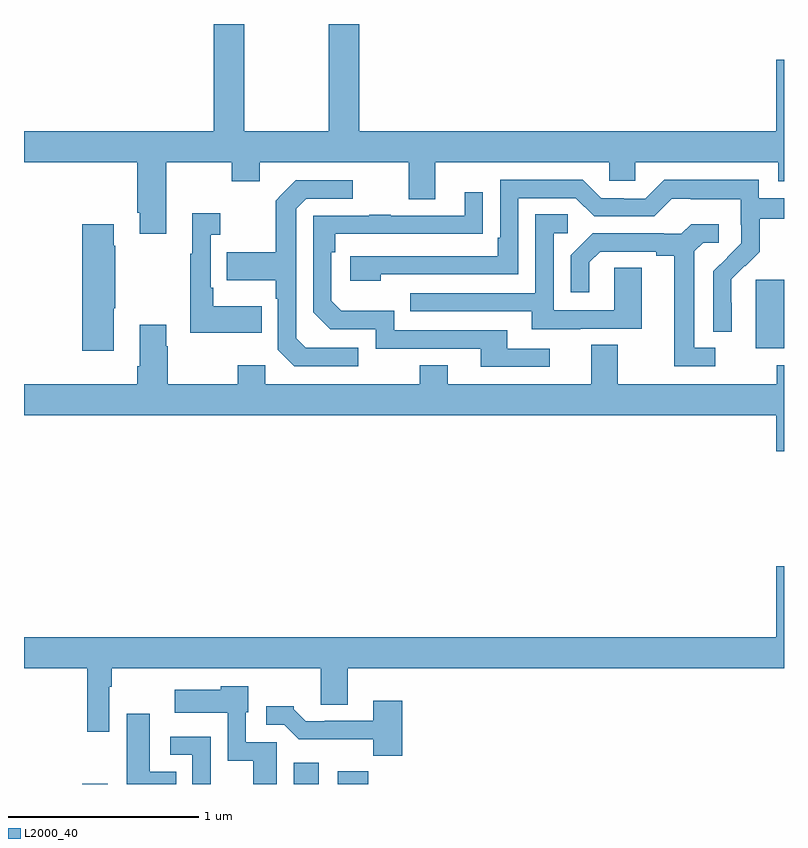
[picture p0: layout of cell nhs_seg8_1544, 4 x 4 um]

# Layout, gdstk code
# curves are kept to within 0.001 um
import gdstk
lib = gdstk.Library(unit=1e-6, precision=1e-09)
def R(c, l, rs):  # rectangles x0, y0, x1, y1
    for r in rs: c.add(gdstk.rectangle(r[:2], r[2:], *l))
def P(c, l, *ps):  # polygons
    for p in ps: c.add(gdstk.Polygon(p, *l))
L2000_40 = (2000, 40)

nhs_seg8_1544 = lib.new_cell('nhs_seg8_1544')
R(nhs_seg8_1544, L2000_40, [(209.306,1107.9,209.44,1107.901), (210.419,1107.9,210.55,1108.012), (210.65,1107.9,210.812,1107.967), (212.852,1110.194,213,1110.555)])
P(nhs_seg8_1544, L2000_40, [(209.749,1111.172),(210.094,1111.172),(210.094,1111.073),(210.241,1111.073),(210.241,1111.172),(211.025,1111.172),(211.025,1110.978),(211.165,1110.978),(211.165,1111.172),(212.079,1111.172),(212.079,1111.074),(212.217,1111.074),(212.217,1111.172),(212.969,1111.172),(212.969,1111.073),(213,1111.073),(213,1111.711),(212.96,1111.711),(212.96,1111.336),(210.764,1111.336),(210.764,1111.9),(210.604,1111.9),(210.604,1111.336),(210.159,1111.336),(210.159,1111.9),(209.999,1111.9),(209.999,1111.336),(209,1111.336),(209,1111.172),(209.597,1111.172),(209.597,1110.907),(209.609,1110.907),(209.609,1110.795),(209.749,1110.795)],
  [(212.724,1110.434),(212.723,1110.557),(212.793,1110.627),(212.796,1110.624),(212.873,1110.701),(212.873,1110.876),(213,1110.876),(213,1110.984),(212.868,1110.984),(212.868,1111.081),(212.371,1111.081),(212.271,1110.981),(212.156,1110.981),(212.156,1110.984),(212.037,1110.984),(211.941,1111.08),(211.506,1111.08),(211.506,1110.775),(211.493,1110.775),(211.493,1110.678),(210.717,1110.678),(210.717,1110.548),(210.878,1110.548),(210.878,1110.582),(211.602,1110.582),(211.602,1110.984),(211.905,1110.984),(212.001,1110.888),(212.316,1110.888),(212.409,1110.981),(212.509,1110.981),(212.509,1110.977),(212.772,1110.977),(212.772,1110.843),(212.774,1110.843),(212.774,1110.746),(212.628,1110.598),(212.628,1110.28),(212.724,1110.28)],
  [(210.76,1110.195),(210.483,1110.195),(210.432,1110.246),(210.432,1110.927),(210.486,1110.981),(210.73,1110.981),(210.73,1111.077),(210.429,1111.077),(210.324,1110.971),(210.324,1110.699),(210.067,1110.699),(210.067,1110.551),(210.324,1110.551),(210.324,1110.455),(210.336,1110.455),(210.336,1110.186),(210.423,1110.099),(210.76,1110.099)],
  [(211.768,1110.192),(211.543,1110.192),(211.543,1110.288),(210.948,1110.288),(210.948,1110.391),(210.671,1110.391),(210.618,1110.444),(210.618,1110.698),(210.638,1110.698),(210.638,1110.795),(211.415,1110.796),(211.415,1111.015),(211.319,1111.015),(211.319,1110.891),(210.929,1110.891),(210.929,1110.896),(210.817,1110.896),(210.817,1110.891),(210.522,1110.891),(210.522,1110.384),(210.612,1110.294),(210.852,1110.294),(210.852,1110.192),(211.403,1110.192),(211.403,1110.096),(211.768,1110.096)],
  [(210.251,1110.415),(209.995,1110.415),(209.995,1110.511),(209.982,1110.511),(209.982,1110.791),(210.034,1110.791),(210.034,1110.904),(209.885,1110.904),(209.885,1110.691),(209.874,1110.691),(209.874,1110.275),(210.251,1110.275)],
  [(211.927,1110.297),(212.251,1110.297),(212.251,1110.617),(212.106,1110.617),(212.106,1110.393),(211.788,1110.393),(211.788,1110.798),(211.861,1110.798),(211.861,1110.899),(211.692,1110.899),(211.692,1110.483),(211.033,1110.483),(211.033,1110.387),(211.673,1110.387),(211.673,1110.293),(211.927,1110.293)],
  [(209.473,1110.403),(209.481,1110.403),(209.481,1110.734),(209.473,1110.734),(209.473,1110.847),(209.306,1110.847),(209.306,1110.18),(209.473,1110.18)],
  [(212.638,1110.195),(212.527,1110.195),(212.527,1110.703),(212.574,1110.75),(212.656,1110.75),(212.656,1110.847),(212.512,1110.847),(212.46,1110.795),(212.366,1110.795),(212.366,1110.798),(211.994,1110.798),(211.878,1110.682),(211.878,1110.489),(211.975,1110.489),(211.975,1110.645),(212.032,1110.702),(212.327,1110.702),(212.327,1110.68),(212.423,1110.68),(212.423,1110.099),(212.638,1110.099)],
  [(213,1110.103),(212.962,1110.103),(212.962,1110.004),(212.125,1110.004),(212.125,1110.212),(211.985,1110.212),(211.985,1110.004),(211.231,1110.004),(211.231,1110.103),(211.084,1110.103),(211.084,1110.004),(210.27,1110.004),(210.27,1110.103),(210.124,1110.103),(210.124,1110.004),(209.757,1110.004),(209.757,1110.203),(209.749,1110.203),(209.749,1110.316),(209.609,1110.316),(209.609,1110.1),(209.597,1110.1),(209.597,1110.004),(209,1110.004),(209,1109.84),(212.96,1109.84),(212.96,1109.652),(213,1109.652)],
  [(209.448,1108.412),(209.461,1108.412),(209.461,1108.508),(210.563,1108.508),(210.563,1108.318),(210.703,1108.318),(210.703,1108.508),(213,1108.508),(213,1109.047),(212.96,1109.047),(212.96,1108.672),(209,1108.672),(209,1108.508),(209.332,1108.508),(209.332,1108.176),(209.448,1108.176)],
  [(210.331,1108.119),(210.168,1108.119),(210.168,1108.278),(210.181,1108.278),(210.181,1108.414),(210.036,1108.414),(210.036,1108.396),(209.793,1108.396),(209.793,1108.274),(210.072,1108.274),(210.072,1108.022),(210.206,1108.022),(210.206,1107.9),(210.331,1107.9)],
  [(210.992,1108.339),(210.839,1108.339),(210.839,1108.233),(210.583,1108.233),(210.583,1108.23),(210.484,1108.23),(210.42,1108.294),(210.42,1108.309),(210.276,1108.309),(210.276,1108.212),(210.369,1108.212),(210.445,1108.136),(210.837,1108.136),(210.837,1108.049),(210.992,1108.049)],
  [(209.801,1107.964),(209.662,1107.964),(209.662,1108.27),(209.54,1108.27),(209.54,1107.9),(209.801,1107.9)],
  [(209.982,1108.149),(209.769,1108.149),(209.769,1108.053),(209.886,1108.053),(209.886,1107.9),(209.982,1107.9)])

lib.write_gds('nhs_seg8_1544.gds')
